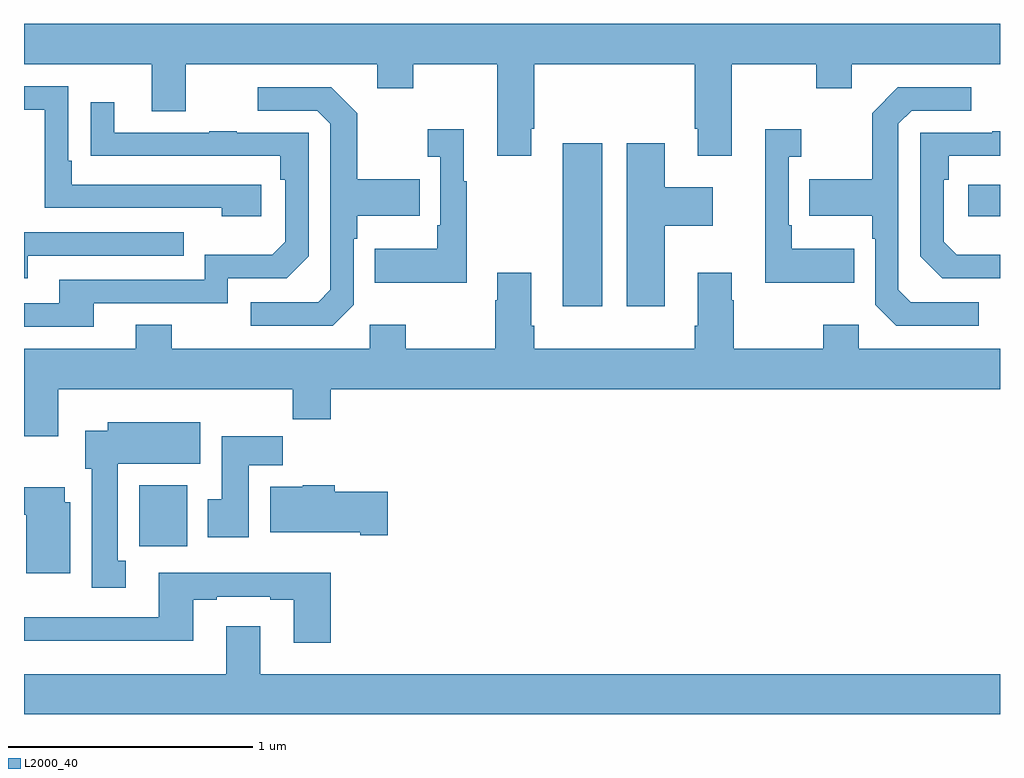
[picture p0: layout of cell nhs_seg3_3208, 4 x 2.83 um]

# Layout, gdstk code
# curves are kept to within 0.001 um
import gdstk
lib = gdstk.Library(unit=1e-6, precision=1e-09)
def R(c, l, rs):  # rectangles x0, y0, x1, y1
    for r in rs: c.add(gdstk.rectangle(r[:2], r[2:], *l))
def P(c, l, *ps):  # polygons
    for p in ps: c.add(gdstk.Polygon(p, *l))
L2000_40 = (2000, 40)

nhs_seg3_3208 = lib.new_cell('nhs_seg3_3208')
R(nhs_seg3_3208, L2000_40, [(277.473,725.58,277.669,725.83), (279.209,726.564,279.37,727.231), (280.869,726.932,281,727.062)])
P(nhs_seg3_3208, L2000_40, [(279.079,727.291),(279.092,727.291),(279.092,727.556),(279.749,727.556),(279.749,727.291),(279.761,727.291),(279.761,727.179),(279.901,727.179),(279.901,727.556),(280.246,727.556),(280.246,727.457),(280.393,727.457),(280.393,727.556),(281,727.556),(281,727.72),(277,727.72),(277,727.556),(277.523,727.556),(277.523,727.362),(277.663,727.362),(277.663,727.556),(278.447,727.556),(278.447,727.457),(278.595,727.457),(278.595,727.556),(278.939,727.556),(278.939,727.179),(279.079,727.179)],
  [(277.972,727.062),(277.195,727.062),(277.195,727.159),(277.182,727.159),(277.182,727.464),(277,727.464),(277,727.368),(277.086,727.368),(277.086,726.966),(277.811,726.966),(277.811,726.932),(277.972,726.932)],
  [(278.352,726.57),(278.352,726.839),(278.365,726.839),(278.365,726.935),(278.621,726.935),(278.621,727.083),(278.365,727.083),(278.365,727.355),(278.259,727.461),(277.959,727.461),(277.959,727.365),(278.202,727.365),(278.256,727.311),(278.256,726.63),(278.205,726.579),(277.929,726.579),(277.929,726.483),(278.265,726.483)],
  [(280.912,726.579),(280.635,726.579),(280.584,726.63),(280.584,727.311),(280.638,727.365),(280.882,727.365),(280.882,727.461),(280.581,727.461),(280.476,727.355),(280.476,727.083),(280.219,727.083),(280.219,726.935),(280.476,726.935),(280.476,726.839),(280.488,726.839),(280.488,726.57),(280.575,726.483),(280.912,726.483)],
  [(277.285,726.576),(277.836,726.576),(277.836,726.678),(278.076,726.678),(278.166,726.768),(278.166,727.275),(277.871,727.275),(277.871,727.28),(277.759,727.28),(277.759,727.275),(277.369,727.275),(277.369,727.399),(277.273,727.399),(277.273,727.18),(278.05,727.179),(278.05,727.082),(278.07,727.082),(278.07,726.828),(278.017,726.775),(277.74,726.775),(277.74,726.672),(277.145,726.672),(277.145,726.576),(277,726.576),(277,726.48),(277.285,726.48)],
  [(280.403,726.799),(280.147,726.799),(280.147,726.895),(280.134,726.895),(280.134,727.175),(280.186,727.175),(280.186,727.288),(280.037,727.288),(280.037,726.659),(280.403,726.659)],
  [(278.815,727.075),(278.803,727.075),(278.803,727.288),(278.655,727.288),(278.655,727.175),(278.706,727.175),(278.706,726.895),(278.694,726.895),(278.694,726.799),(278.437,726.799),(278.437,726.659),(278.815,726.659)],
  [(281,726.775),(280.823,726.775),(280.77,726.828),(280.77,727.082),(280.79,727.082),(280.79,727.179),(281,727.179),(281,727.28),(280.969,727.28),(280.969,727.275),(280.674,727.275),(280.674,726.768),(280.764,726.678),(281,726.678)],
  [(279.625,726.893),(279.823,726.893),(279.823,727.051),(279.625,727.051),(279.625,727.231),(279.47,727.231),(279.47,726.564),(279.625,726.564)],
  [(277.015,726.771),(277.655,726.771),(277.655,726.867),(277,726.867),(277,726.677),(277.015,726.677)],
  [(278.101,726.1),(278.258,726.1),(278.258,726.224),(281,726.224),(281,726.388),(280.422,726.388),(280.422,726.487),(280.276,726.487),(280.276,726.388),(279.909,726.388),(279.909,726.587),(279.901,726.587),(279.901,726.7),(279.761,726.7),(279.761,726.484),(279.749,726.484),(279.749,726.388),(279.092,726.388),(279.092,726.484),(279.079,726.484),(279.079,726.7),(278.939,726.7),(278.939,726.587),(278.932,726.587),(278.932,726.388),(278.565,726.388),(278.565,726.487),(278.418,726.487),(278.418,726.388),(277.605,726.388),(277.605,726.487),(277.457,726.487),(277.457,726.388),(277,726.388),(277,726.03),(277.141,726.03),(277.141,726.224),(278.101,726.224)],
  [(277.417,725.521),(277.384,725.521),(277.384,725.918),(277.723,725.918),(277.723,726.088),(277.343,726.088),(277.343,726.052),(277.25,726.052),(277.25,725.898),(277.277,725.898),(277.277,725.409),(277.417,725.409)],
  [(277.921,725.912),(278.06,725.912),(278.06,726.03),(277.811,726.03),(277.811,725.772),(277.754,725.772),(277.754,725.616),(277.921,725.616)],
  [(278.491,725.802),(278.273,725.802),(278.273,725.83),(278.142,725.83),(278.142,725.824),(278.009,725.824),(278.009,725.636),(278.378,725.636),(278.378,725.624),(278.491,725.624)],
  [(277.189,725.76),(277.168,725.76),(277.168,725.821),(277,725.821),(277,725.708),(277.01,725.708),(277.01,725.468),(277.189,725.468)],
  [(278.258,725.47),(277.553,725.47),(277.553,725.289),(277,725.289),(277,725.192),(277.693,725.192),(277.693,725.361),(277.789,725.361),(277.789,725.373),(278.009,725.373),(278.009,725.361),(278.105,725.361),(278.105,725.184),(278.258,725.184)],
  [(281,725.056),(277.969,725.056),(277.969,725.251),(277.829,725.251),(277.829,725.056),(277,725.056),(277,724.892),(281,724.892)])

lib.write_gds('nhs_seg3_3208.gds')
